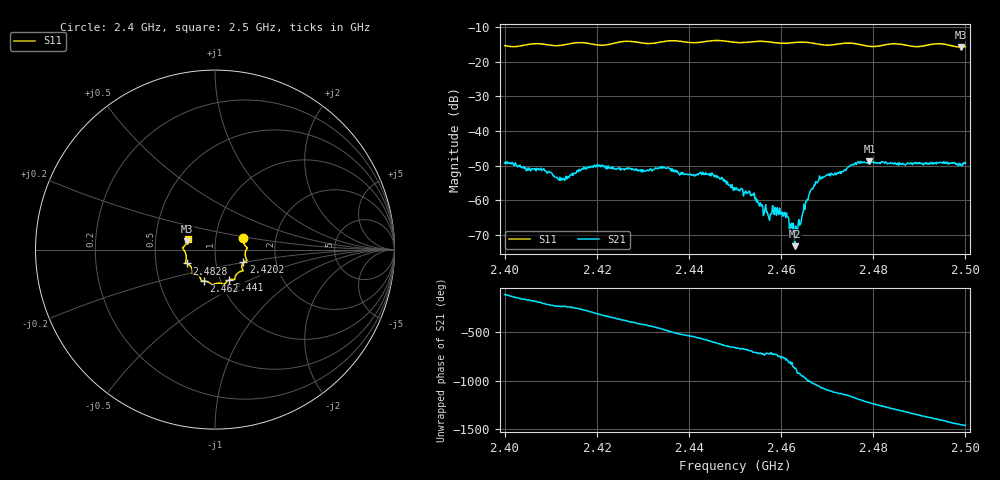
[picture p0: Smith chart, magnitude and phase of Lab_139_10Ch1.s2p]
# Hz S RI R 50
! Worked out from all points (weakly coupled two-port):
!   601 points, 2.4 GHz to 2.5 GHz, reference 50 ohm
!   highest |S21| = -48.81 dB at 2.4792 GHz (marker M1); lowest = -73.3 dB at 2.463 GHz (marker M2)
!   lowest |S11| = -15.8 dB at 2.499 GHz (marker M3), VSWR 1.39, Z = 36.5 + j3.48 ohm
!   |S11| at or under -10 dB: start of sweep to end of sweep
!   S12 and S22 are empty: the file has one direction only
!   S11 on the Smith chart (normalised r, x): 2.4 GHz: 1.36, +0.18; 2.4202 GHz: 1.36, -0.20; 2.441 GHz: 1.10, -0.39; 2.462 GHz: 0.84, -0.30; 2.4828 GHz: 0.72, -0.11; 2.5 GHz: 0.73, +0.09
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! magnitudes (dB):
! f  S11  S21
! 2.4 GHz  -15.4  -49.3
! 2.4082 GHz  -14.9  -51.2
! 2.4127 GHz  -15.3  -53.9
! 2.4167 GHz  -14.5  -51.1
! 2.4202 GHz  -15.2  -49.9
! 2.4333 GHz  -14.5  -50.8
! 2.441 GHz  -14.6  -52.7
! 2.4452 GHz  -14.0  -52.5
! 2.45 GHz  -14.5  -57.0
! 2.4537 GHz  -14.3  -58.3
! 2.4573 GHz  -14.3  -65.0
! 2.4587 GHz  -14.6  -62.1
! 2.4612 GHz  -14.7  -63.7
! 2.462 GHz  -14.6  -66.9
! 2.463 GHz  -14.5  -73.3
! 2.4667 GHz  -14.6  -56.7
! 2.4688 GHz  -15.2  -53.3
! 2.4792 GHz  -15.6  -48.8
! 2.4828 GHz  -15.1  -49.0
! 2.4833 GHz  -15.0  -49.4
! 2.499 GHz  -15.8  -50.0
! 2.5 GHz  -15.7  -49.3
